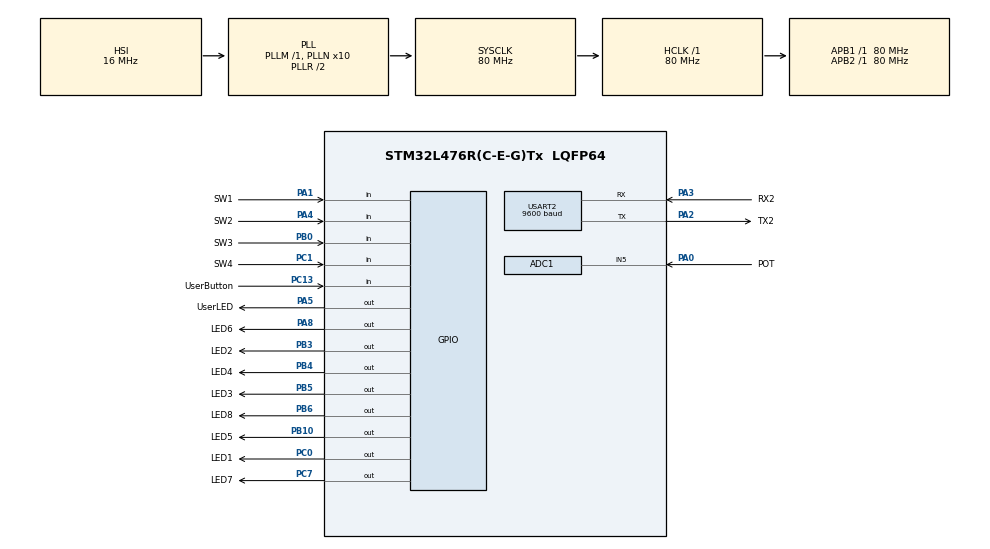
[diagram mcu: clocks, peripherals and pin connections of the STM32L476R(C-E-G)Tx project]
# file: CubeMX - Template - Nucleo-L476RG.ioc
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ADC1.Channel-0\#ChannelRegularConversion=ADC_CHANNEL_5
ADC1.NbrOfConversionFlag=1
ADC1.OffsetNumber-0\#ChannelRegularConversion=ADC_OFFSET_NONE
ADC1.Overrun=ADC_OVR_DATA_OVERWRITTEN
ADC1.Rank-0\#ChannelRegularConversion=1
ADC1.Resolution=ADC_RESOLUTION_12B
ADC1.SamplingTime-0\#ChannelRegularConversion=ADC_SAMPLETIME_2CYCLES_5
ADC1.master=1
FREERTOS.Mutexes01=usart2TxMutex,Dynamic,NULL
FREERTOS.Tasks01=BlinkLed1Thread,24,128,BlinkLed1,Default,NULL,Dynamic,NULL,NULL;Usart2TxThread,24,128,Usart2Tx,Default,NULL,Dynamic,NULL,NULL;Usart2RxThread,24,128,Usart2Rx,Default,NULL,Dynamic,NULL,NULL;AdConvThread,24,128,AdConversion,Default,NULL,Dynamic,NULL,NULL
FREERTOS.configUSE_NEWLIB_REENTRANT=0
Mcu.Family=STM32L4
Mcu.Name=STM32L476R(C-E-G)Tx
Mcu.Package=LQFP64
NVIC.PriorityGroup=NVIC_PRIORITYGROUP_4
NVIC.TIM6_DAC_IRQn=true\:15\:0\:false\:false\:true\:false\:false\:true\:true
NVIC.TimeBase=TIM6_DAC_IRQn
NVIC.TimeBaseIP=TIM6
PA0.GPIO_Label=POT
PA0.Signal=ADCx_IN5
PA1.GPIO_Label=SW1
PA1.Signal=GPIO_Input
PA13\ (JTMS-SWDIO).GPIO_Label=TMS
PA13\ (JTMS-SWDIO).Mode=Serial_Wire
PA13\ (JTMS-SWDIO).Signal=SYS_JTMS-SWDIO
PA14\ (JTCK-SWCLK).GPIO_Label=TCK
PA14\ (JTCK-SWCLK).Mode=Serial_Wire
PA14\ (JTCK-SWCLK).Signal=SYS_JTCK-SWCLK
PA2.GPIO_Label=TX2
PA2.GPIO_Mode=GPIO_MODE_AF_PP
PA2.GPIO_PuPd=GPIO_NOPULL
PA2.GPIO_Speed=GPIO_SPEED_FREQ_VERY_HIGH
PA2.Mode=Asynchronous
PA2.Signal=USART2_TX
PA3.GPIO_Label=RX2
PA3.GPIO_Mode=GPIO_MODE_AF_PP
PA3.GPIO_PuPd=GPIO_NOPULL
PA3.GPIO_Speed=GPIO_SPEED_FREQ_VERY_HIGH
PA3.Mode=Asynchronous
PA3.Signal=USART2_RX
PA4.GPIO_Label=SW2
PA4.Signal=GPIO_Input
PA5.GPIO_Label=UserLED
PA5.GPIO_ModeDefaultOutputPP=GPIO_MODE_OUTPUT_PP
PA5.GPIO_PuPd=GPIO_NOPULL
PA5.GPIO_Speed=GPIO_SPEED_FREQ_LOW
PA5.Signal=GPIO_Output
PA8.GPIO_Label=LED6
PA8.Signal=GPIO_Output
PB0.GPIO_Label=SW3
PB0.Signal=GPIO_Input
PB10.GPIO_Label=LED5
PB10.Signal=GPIO_Output
PB3\ (JTDO-TRACESWO).GPIO_Label=LED2
PB3\ (JTDO-TRACESWO).Signal=GPIO_Output
PB4\ (NJTRST).GPIO_Label=LED4
PB4\ (NJTRST).Signal=GPIO_Output
PB5.GPIO_Label=LED3
PB5.Signal=GPIO_Output
PB6.GPIO_Label=LED8
PB6.Signal=GPIO_Output
PC0.GPIO_Label=LED1
PC0.Signal=GPIO_Output
PC1.GPIO_Label=SW4
PC1.Signal=GPIO_Input
PC13.GPIO_Label=UserButton
PC13.Signal=GPIO_Input
PC7.GPIO_Label=LED7
PC7.Signal=GPIO_Output
ProjectManager.HeapSize=0x200
ProjectManager.StackSize=0x400
ProjectManager.TargetToolchain=Makefile
RCC.ADCFreq_Value=64000000
RCC.AHBFreq_Value=80000000
RCC.APB1Freq_Value=80000000
RCC.APB1TimFreq_Value=80000000
RCC.APB2Freq_Value=80000000
RCC.APB2TimFreq_Value=80000000
RCC.CortexFreq_Value=80000000
RCC.HCLKFreq_Value=80000000
RCC.HSE_VALUE=8000000
RCC.HSI_VALUE=16000000
RCC.LSE_VALUE=32768
RCC.MSI_VALUE=4000000
RCC.PLLN=10
RCC.PLLSourceVirtual=RCC_PLLSOURCE_HSI
RCC.PREFETCH_ENABLE=1
RCC.SYSCLKFreq_VALUE=80000000
RCC.SYSCLKSource=RCC_SYSCLKSOURCE_PLLCLK
RCC.USBFreq_Value=64000000
RCC.VCOOutputFreq_Value=160000000
SH.ADCx_IN5.0=ADC1_IN5,IN5-Single-Ended
USART2.BaudRate=9600
USART2.OverrunDisableParam=ADVFEATURE_OVERRUN_DISABLE
USART2.VirtualMode-Asynchronous=VM_ASYNC
VP_FREERTOS_VS_CMSIS_V2.Mode=CMSIS_V2
VP_SYS_VS_tim6.Mode=TIM6
board=NUCLEO-L476RG

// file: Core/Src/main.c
/* USER CODE BEGIN Header */
/**
  ******************************************************************************
  * @file           : main.c
  * @brief          : Main program body
  ******************************************************************************
  * @attention
  *
  * Copyright (c) 2023 STMicroelectronics.
  * All rights reserved.
  *
  * This software is licensed under terms that can be found in the LICENSE file
  * in the root directory of this software component.
  * If no LICENSE file comes with this software, it is provided AS-IS.
  *
  ******************************************************************************
  */
	// Versie: 20252026
/* USER CODE END Header */
#include "main.h"
#include "cmsis_os.h"

/* USER CODE BEGIN Includes */
#include "leds.h"
#include "buttons.h"
#include "usart2.h"
#include "ad.h"
#include "stdio.h"
#include "string.h"
/* USER CODE END Includes */

/* USER CODE BEGIN PD */
#define MESSAGE "Hallo CMSIS RTOS V2...\r\n"
/* USER CODE END PD */

ADC_HandleTypeDef hadc1;

UART_HandleTypeDef huart2;

/* Definitions for BlinkLed1Thread */
osThreadId_t BlinkLed1ThreadHandle;
const osThreadAttr_t BlinkLed1Thread_attributes = {
  .name = "BlinkLed1Thread",
  .stack_size = 128 * 4,
  .priority = (osPriority_t) osPriorityNormal,
};
/* Definitions for Usart2TxThread */
osThreadId_t Usart2TxThreadHandle;
const osThreadAttr_t Usart2TxThread_attributes = {
  .name = "Usart2TxThread",
  .stack_size = 128 * 4,
  .priority = (osPriority_t) osPriorityNormal,
};
/* Definitions for Usart2RxThread */
osThreadId_t Usart2RxThreadHandle;
const osThreadAttr_t Usart2RxThread_attributes = {
  .name = "Usart2RxThread",
  .stack_size = 128 * 4,
  .priority = (osPriority_t) osPriorityNormal,
};
/* Definitions for AdConvThread */
osThreadId_t AdConvThreadHandle;
const osThreadAttr_t AdConvThread_attributes = {
  .name = "AdConvThread",
  .stack_size = 128 * 4,
  .priority = (osPriority_t) osPriorityNormal,
};
/* Definitions for usart2TxMutex */
osMutexId_t usart2TxMutexHandle;
const osMutexAttr_t usart2TxMutex_attributes = {
  .name = "usart2TxMutex"
};

void SystemClock_Config(void);
static void MX_GPIO_Init(void);
static void MX_ADC1_Init(void);
static void MX_USART2_UART_Init(void);
void BlinkLed1(void *argument);
void Usart2Tx(void *argument);
void Usart2Rx(void *argument);
void AdConversion(void *argument);

int main(void)
{

  /* MCU Configuration--------------------------------------------------------*/

  /* Reset of all peripherals, Initializes the Flash interface and the Systick. */
  HAL_Init();

  /* Configure the system clock */
  SystemClock_Config();

  /* Initialize all configured peripherals */
  MX_GPIO_Init();
  MX_ADC1_Init();
  MX_USART2_UART_Init();
  /* USER CODE BEGIN 2 */
	// Laten weten dat we opgestart zijn, via de USART2 (USB).
	printf("Reboot\r\n");
  /* USER CODE END 2 */

  /* Init scheduler */
  osKernelInitialize();
  /* Create the mutex(es) */
  /* creation of usart2TxMutex */
  usart2TxMutexHandle = osMutexNew(&usart2TxMutex_attributes);

  /* Create the thread(s) */
  /* creation of BlinkLed1Thread */
  BlinkLed1ThreadHandle = osThreadNew(BlinkLed1, NULL, &BlinkLed1Thread_attributes);

  /* creation of Usart2TxThread */
  Usart2TxThreadHandle = osThreadNew(Usart2Tx, NULL, &Usart2TxThread_attributes);

  /* creation of Usart2RxThread */
  Usart2RxThreadHandle = osThreadNew(Usart2Rx, NULL, &Usart2RxThread_attributes);

  /* creation of AdConvThread */
  AdConvThreadHandle = osThreadNew(AdConversion, NULL, &AdConvThread_attributes);

  /* Start scheduler */
  osKernelStart();

  /* We should never get here as control is now taken by the scheduler */

  /* Infinite loop */
  while (1)
  {

  }
}

void SystemClock_Config(void)
{
  RCC_OscInitTypeDef RCC_OscInitStruct = {0};
  RCC_ClkInitTypeDef RCC_ClkInitStruct = {0};

  /** Configure the main internal regulator output voltage
  */
  if (HAL_PWREx_ControlVoltageScaling(PWR_REGULATOR_VOLTAGE_SCALE1) != HAL_OK)
  {
    Error_Handler();
  }

  /** Initializes the RCC Oscillators according to the specified parameters
  * in the RCC_OscInitTypeDef structure.
  */
  RCC_OscInitStruct.OscillatorType = RCC_OSCILLATORTYPE_HSI;
  RCC_OscInitStruct.HSIState = RCC_HSI_ON;
  RCC_OscInitStruct.HSICalibrationValue = RCC_HSICALIBRATION_DEFAULT;
  RCC_OscInitStruct.PLL.PLLState = RCC_PLL_ON;
  RCC_OscInitStruct.PLL.PLLSource = RCC_PLLSOURCE_HSI;
  RCC_OscInitStruct.PLL.PLLM = 1;
  RCC_OscInitStruct.PLL.PLLN = 10;
  RCC_OscInitStruct.PLL.PLLP = RCC_PLLP_DIV7;
  RCC_OscInitStruct.PLL.PLLQ = RCC_PLLQ_DIV2;
  RCC_OscInitStruct.PLL.PLLR = RCC_PLLR_DIV2;
  if (HAL_RCC_OscConfig(&RCC_OscInitStruct) != HAL_OK)
  {
    Error_Handler();
  }

  /** Initializes the CPU, AHB and APB buses clocks
  */
  RCC_ClkInitStruct.ClockType = RCC_CLOCKTYPE_HCLK|RCC_CLOCKTYPE_SYSCLK
                              |RCC_CLOCKTYPE_PCLK1|RCC_CLOCKTYPE_PCLK2;
  RCC_ClkInitStruct.SYSCLKSource = RCC_SYSCLKSOURCE_PLLCLK;
  RCC_ClkInitStruct.AHBCLKDivider = RCC_SYSCLK_DIV1;
  RCC_ClkInitStruct.APB1CLKDivider = RCC_HCLK_DIV1;
  RCC_ClkInitStruct.APB2CLKDivider = RCC_HCLK_DIV1;

  if (HAL_RCC_ClockConfig(&RCC_ClkInitStruct, FLASH_LATENCY_4) != HAL_OK)
  {
    Error_Handler();
  }
}

static void MX_ADC1_Init(void)
{

  ADC_MultiModeTypeDef multimode = {0};
  ADC_ChannelConfTypeDef sConfig = {0};

  /** Common config
  */
  hadc1.Instance = ADC1;
  hadc1.Init.ClockPrescaler = ADC_CLOCK_ASYNC_DIV1;
  hadc1.Init.Resolution = ADC_RESOLUTION_12B;
  hadc1.Init.DataAlign = ADC_DATAALIGN_RIGHT;
  hadc1.Init.ScanConvMode = ADC_SCAN_DISABLE;
  hadc1.Init.EOCSelection = ADC_EOC_SINGLE_CONV;
  hadc1.Init.LowPowerAutoWait = DISABLE;
  hadc1.Init.ContinuousConvMode = DISABLE;
  hadc1.Init.NbrOfConversion = 1;
  hadc1.Init.DiscontinuousConvMode = DISABLE;
  hadc1.Init.ExternalTrigConv = ADC_SOFTWARE_START;
  hadc1.Init.ExternalTrigConvEdge = ADC_EXTERNALTRIGCONVEDGE_NONE;
  hadc1.Init.DMAContinuousRequests = DISABLE;
  hadc1.Init.Overrun = ADC_OVR_DATA_OVERWRITTEN;
  hadc1.Init.OversamplingMode = DISABLE;
  if (HAL_ADC_Init(&hadc1) != HAL_OK)
  {
    Error_Handler();
  }

  /** Configure the ADC multi-mode
  */
  multimode.Mode = ADC_MODE_INDEPENDENT;
  if (HAL_ADCEx_MultiModeConfigChannel(&hadc1, &multimode) != HAL_OK)
  {
    Error_Handler();
  }

  /** Configure Regular Channel
  */
  sConfig.Channel = ADC_CHANNEL_5;
  sConfig.Rank = ADC_REGULAR_RANK_1;
  sConfig.SamplingTime = ADC_SAMPLETIME_2CYCLES_5;
  sConfig.SingleDiff = ADC_SINGLE_ENDED;
  sConfig.OffsetNumber = ADC_OFFSET_NONE;
  sConfig.Offset = 0;
  if (HAL_ADC_ConfigChannel(&hadc1, &sConfig) != HAL_OK)
  {
    Error_Handler();
  }

}

static void MX_USART2_UART_Init(void)
{

  huart2.Instance = USART2;
  huart2.Init.BaudRate = 9600;
  huart2.Init.WordLength = UART_WORDLENGTH_8B;
  huart2.Init.StopBits = UART_STOPBITS_1;
  huart2.Init.Parity = UART_PARITY_NONE;
  huart2.Init.Mode = UART_MODE_TX_RX;
  huart2.Init.HwFlowCtl = UART_HWCONTROL_NONE;
  huart2.Init.OverSampling = UART_OVERSAMPLING_16;
  huart2.Init.OneBitSampling = UART_ONE_BIT_SAMPLE_DISABLE;
  huart2.AdvancedInit.AdvFeatureInit = UART_ADVFEATURE_RXOVERRUNDISABLE_INIT;
  huart2.AdvancedInit.OverrunDisable = UART_ADVFEATURE_OVERRUN_DISABLE;
  if (HAL_UART_Init(&huart2) != HAL_OK)
  {
    Error_Handler();
  }

}

static void MX_GPIO_Init(void)
{
  GPIO_InitTypeDef GPIO_InitStruct = {0};

  /* GPIO Ports Clock Enable */
  __HAL_RCC_GPIOC_CLK_ENABLE();
  __HAL_RCC_GPIOA_CLK_ENABLE();
  __HAL_RCC_GPIOB_CLK_ENABLE();

  /*Configure GPIO pin Output Level */
  HAL_GPIO_WritePin(GPIOC, LED1_Pin|LED7_Pin, GPIO_PIN_RESET);

  /*Configure GPIO pin Output Level */
  HAL_GPIO_WritePin(GPIOA, UserLED_Pin|LED6_Pin, GPIO_PIN_RESET);

  /*Configure GPIO pin Output Level */
  HAL_GPIO_WritePin(GPIOB, LED5_Pin|LED2_Pin|LED4_Pin|LED3_Pin
                          |LED8_Pin, GPIO_PIN_RESET);

  /*Configure GPIO pins : UserButton_Pin SW4_Pin */
  GPIO_InitStruct.Pin = UserButton_Pin|SW4_Pin;
  GPIO_InitStruct.Mode = GPIO_MODE_INPUT;
  GPIO_InitStruct.Pull = GPIO_NOPULL;
  HAL_GPIO_Init(GPIOC, &GPIO_InitStruct);

  /*Configure GPIO pins : LED1_Pin LED7_Pin */
  GPIO_InitStruct.Pin = LED1_Pin|LED7_Pin;
  GPIO_InitStruct.Mode = GPIO_MODE_OUTPUT_PP;
  GPIO_InitStruct.Pull = GPIO_NOPULL;
  GPIO_InitStruct.Speed = GPIO_SPEED_FREQ_LOW;
  HAL_GPIO_Init(GPIOC, &GPIO_InitStruct);

  /*Configure GPIO pins : SW1_Pin SW2_Pin */
  GPIO_InitStruct.Pin = SW1_Pin|SW2_Pin;
  GPIO_InitStruct.Mode = GPIO_MODE_INPUT;
  GPIO_InitStruct.Pull = GPIO_NOPULL;
  HAL_GPIO_Init(GPIOA, &GPIO_InitStruct);

  /*Configure GPIO pins : UserLED_Pin LED6_Pin */
  GPIO_InitStruct.Pin = UserLED_Pin|LED6_Pin;
  GPIO_InitStruct.Mode = GPIO_MODE_OUTPUT_PP;
  GPIO_InitStruct.Pull = GPIO_NOPULL;
  GPIO_InitStruct.Speed = GPIO_SPEED_FREQ_LOW;
  HAL_GPIO_Init(GPIOA, &GPIO_InitStruct);

  /*Configure GPIO pin : SW3_Pin */
  GPIO_InitStruct.Pin = SW3_Pin;
  GPIO_InitStruct.Mode = GPIO_MODE_INPUT;
  GPIO_InitStruct.Pull = GPIO_NOPULL;
  HAL_GPIO_Init(SW3_GPIO_Port, &GPIO_InitStruct);

  /*Configure GPIO pins : LED5_Pin LED2_Pin LED4_Pin LED3_Pin
                           LED8_Pin */
  GPIO_InitStruct.Pin = LED5_Pin|LED2_Pin|LED4_Pin|LED3_Pin
                          |LED8_Pin;
  GPIO_InitStruct.Mode = GPIO_MODE_OUTPUT_PP;
  GPIO_InitStruct.Pull = GPIO_NOPULL;
  GPIO_InitStruct.Speed = GPIO_SPEED_FREQ_LOW;
  HAL_GPIO_Init(GPIOB, &GPIO_InitStruct);

}

void BlinkLed1(void *argument)
{
  /* USER CODE BEGIN 5 */
  /* Infinite loop */
  for(;;)
  {
		// User LED toggle'n.
		HAL_GPIO_TogglePin(UserLED_GPIO_Port, UserLED_Pin);

		// Even wachten (in Blocked status).
    osDelay(500);
  }
  /* USER CODE END 5 */
}

void Usart2Tx(void *argument)
{
  /* USER CODE BEGIN Usart2Tx */
	uint8_t count = 0;
  /* Infinite loop */
  for(;;)
  {
		char text[20];
		sprintf(text, "##%u %s", count, MESSAGE);

		// Omdat er meerdere threads zijn die willen schrijven naar USART2, moet je de peripheral
		// opeisen via een mutex. Deze handeling zorgt ervoor dat je hier wacht, totdat de mutex
		// beschikbaar is. Daardoor wordt ook gewacht met het versturen van info over de USART2...
		osMutexAcquire(usart2TxMutexHandle, osWaitForever);

		// Teken van leven geven via UART2.
		HAL_UART_Transmit(&huart2, (uint8_t*)text, strlen(text), HAL_MAX_DELAY);
		// of
		//printf("%s", text);

		// USART2 weer vrijgeven voor gebruik door een andere thread.
		osMutexRelease(usart2TxMutexHandle);

		count++;

		// Even wachten.
    osDelay(1000);
  }
  /* USER CODE END Usart2Tx */
}

void Usart2Rx(void *argument)
{
  /* USER CODE BEGIN Usart2Rx */
	uint8_t receivedData = 0;

  /* Infinite loop */
  for(;;)
  {
		// Probeer ��n byte te ontvangen via USART2. Doe dat via 'polling' en wacht oneindig lang...
		// Zonder het concept threads (tasks) in een RTOS, zou deze code blokkeren tot er een byte
		// ontvangen wordt. Nu zal deze thread de voorziene tijd krijgen van de scheduler, daarna wordt
		// overgestapt naar een andere thread (indien nodig). Deze thread krijgt daarna opnieuw de aandacht
		// van de CPU om te kijken of er ��n byte is aangekomen. Deze afwisseling van threads herhaalt zich
		// continu.
		HAL_UART_Receive(&huart2, (uint8_t*)&receivedData, 1, HAL_MAX_DELAY);

		// Als er een byte ontvangen is, toon hem op de LED's.
		ByteToLeds(receivedData);
  }
  /* USER CODE END Usart2Rx */
}

void AdConversion(void *argument)
{
  /* USER CODE BEGIN AdConversion */
	uint16_t adValue = 0;
	uint8_t count = 0;

  /* Infinite loop */
  for(;;)
  {
		// AD-omzetting starten.
		adValue = GetAdValue(&hadc1);

		// USART2 opeisen via een mutex.
		osMutexAcquire(usart2TxMutexHandle, osWaitForever);

		// Waarde op USART2 zetten. Let op: er is nog een ander thread die ook zaken wil versturen op USART2!
		// Gebruik eerst een mutex om de peripheral op te eisen...!
		printf("%u AD-value: %d.\r\n", count, adValue);

		// USART2 weer vrijgeven voor gebruik door een andere thread.
		osMutexRelease(usart2TxMutexHandle);

		count++;

		// Even wachten.
    osDelay(250);
  }
  /* USER CODE END AdConversion */
}

void HAL_TIM_PeriodElapsedCallback(TIM_HandleTypeDef *htim)
{
  if (htim->Instance == TIM6)
  {
    HAL_IncTick();
  }
}

void Error_Handler(void)
{
  __disable_irq();
  while (1)
  {
  }
}
#ifdef USE_FULL_ASSERT
/**
  * @brief  Reports the name of the source file and the source line number
  *         where the assert_param error has occurred.
  * @param  file: pointer to the source file name
  * @param  line: assert_param error line source number
  * @retval None
  */
void assert_failed(uint8_t *file, uint32_t line)
{
  /* USER CODE BEGIN 6 */
  /* User can add his own implementation to report the file name and line number,
     ex: printf("Wrong parameters value: file %s on line %d\r\n", file, line) */
// Versie: 20252026
  /* USER CODE END 6 */
}
#endif /* USE_FULL_ASSERT */
